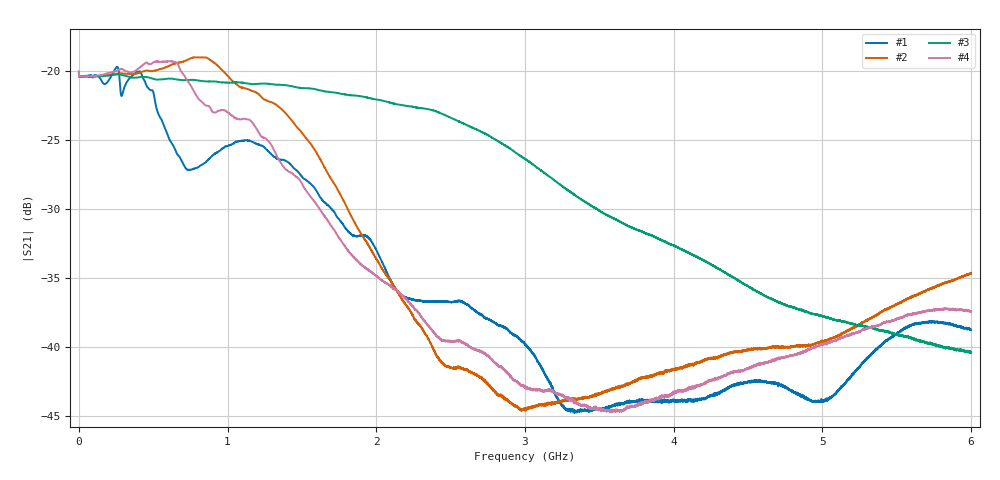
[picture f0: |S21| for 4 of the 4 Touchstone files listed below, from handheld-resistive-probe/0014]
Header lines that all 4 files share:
! Ref Plane: 0.000 mm
# MHZ S MA R  50
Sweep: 300 kHz to 6 GHz
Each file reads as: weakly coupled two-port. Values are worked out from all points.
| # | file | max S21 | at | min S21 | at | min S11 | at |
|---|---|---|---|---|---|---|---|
| 1 | flexground.s2p | -19.73 dB | 255.3 MHz | -44.8 dB | 3.333 GHz | -26.5 dB | 300 kHz |
| 2 | leafground.s2p | -19.04 dB | 773.7 MHz | -44.6 dB | 3 GHz | -26.5 dB | 300 kHz |
| 3 | tipground.s2p | -20.10 dB | 300 kHz | -40.5 dB | 5.994 GHz | -26.5 dB | 300 kHz |
| 4 | zground.s2p | -19.32 dB | 606.3 MHz | -44.8 dB | 3.584 GHz | -26.4 dB | 2.1 MHz |
